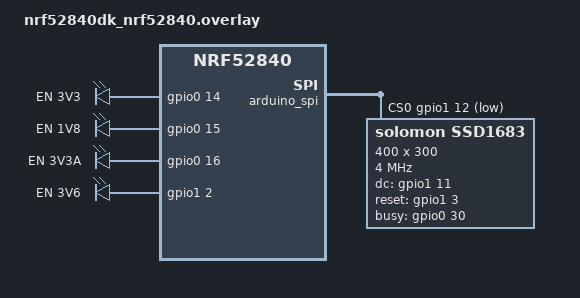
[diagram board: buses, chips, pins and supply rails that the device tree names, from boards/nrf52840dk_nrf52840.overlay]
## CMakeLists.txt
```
cmake_minimum_required(VERSION 3.20.0)


list(APPEND EXTRA_ZEPHYR_MODULES ${CMAKE_CURRENT_SOURCE_DIR}/../ssd1683)

find_package(Zephyr REQUIRED HINTS $ENV{ZEPHYR_BASE})
project(ssd1683_epd)


# Add all the C files you want built for the app here.
# Keep source files in src/ and list them below.
target_sources(app PRIVATE
    src/main.c
    src/power_ctrl.c
    fonts/roboto_28.c
    fonts/roboto_36.c
    fonts/roboto_bold_42.c
)

# Include directories
target_include_directories(app PRIVATE
    ../ssd1683/include
    ${gen_dir}
    fonts
    src
)
```

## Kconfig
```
mainmenu "SSD1683 EPD Application"

source "Kconfig.zephyr"

config APP_EPD_CUT_RAILS_AFTER_STATIC_FLUSH
	bool "Cut 3V3/3V3A after a successful static full flush"
	default y
	help
	  When showing a static screen (full refresh, not a 1 Hz partial
	  tick), cut the panel power rails once ssd1683_flush() succeeds
	  and BUSY is low.  Partial timer updates keep rails enabled.

config APP_EPD_STATIC_FLUSH_INTERVAL_SEC
	int "Demo: seconds between static flush + rail-cut tests"
	default 30
	range 5 3600
	depends on APP_EPD_CUT_RAILS_AFTER_STATIC_FLUSH
	help
	  During the demo loop, every N seconds perform a static full
	  flush and cut rails, then hold rails off before resuming partials.

config APP_EPD_RAIL_OFF_HOLD_SEC
	int "Demo: seconds to hold rails off before resuming partials"
	default 10
	range 1 300
	depends on APP_EPD_CUT_RAILS_AFTER_STATIC_FLUSH
	help
	  After cutting rails, wait this long (e-ink holds the image with
	  no power) before turning rails back on for partial updates.
```

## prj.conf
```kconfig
# Core peripherals
CONFIG_SPI=y
CONFIG_GPIO=y

# Logging / shell
CONFIG_LOG=y
CONFIG_LOG_DEFAULT_LEVEL=3
CONFIG_SHELL=y

# Display
CONFIG_DISPLAY=y
CONFIG_SSD1683=y

# Threading / memory safety
CONFIG_MAIN_STACK_SIZE=8192
CONFIG_MULTITHREADING=y
CONFIG_THREAD_STACK_INFO=y
CONFIG_INIT_STACKS=y
CONFIG_MPU=y
CONFIG_ARM_MPU=y
CONFIG_MPU_STACK_GUARD=y
CONFIG_MPU_ALLOW_FLASH_WRITE=y

# LVGL - 1 bpp mono for the EPD
CONFIG_LVGL=y
CONFIG_LV_COLOR_DEPTH_1=y
CONFIG_LV_Z_MONOCHROME_CONVERSION_BUFFER=y

# Memory pools
CONFIG_LV_Z_MEM_POOL_SIZE=32768

# LVGL partial-render buffer at 25% of screen. Forces LVGL into
# partial rendering mode (buf < screen) so flush_cb is called with
# the actual dirty subrects. Our driver coalesces multiple flushes
# into one EPD refresh via the shadow framebuffer.
CONFIG_LV_Z_VDB_SIZE=25

# Widgets
CONFIG_LV_USE_LABEL=y
CONFIG_LV_LABEL_TEXT_SELECTION=y
CONFIG_LV_LABEL_LONG_TXT_HINT=y
CONFIG_LV_USE_LINE=y
```

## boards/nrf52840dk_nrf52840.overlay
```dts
/ {
	chosen {
		zephyr,display = &ssd1683;
	};

	enables {
		compatible = "gpio-leds";

		en3v3: en3v3 {
			gpios = <&gpio0 14 GPIO_ACTIVE_HIGH>;
			label = "EN 3V3";
		};

		en1v8: en1v8 {
			gpios = <&gpio0 15 GPIO_ACTIVE_HIGH>;
			label = "EN 1V8";
		};

		en3v3a: en3v3a {
			gpios = <&gpio0 16 GPIO_ACTIVE_HIGH>;
			label = "EN 3V3A";
		};

		en3v6: en3v6 {
			gpios = <&gpio1 2 GPIO_ACTIVE_HIGH>;
			label = "EN 3V6";
		};
	};
};


&arduino_spi {
	status = "okay";
	cs-gpios = <&gpio1 12 GPIO_ACTIVE_LOW>;  /* EPD CS */
	/* SSD1683 E-Paper Display - Zephyr Display Driver */
	ssd1683: ssd1683@0 {
		compatible = "solomon,ssd1683";
		reg = <0>;
		spi-max-frequency = <4000000>;
		/* Display dimensions (400x300 pixels) */
		width = <400>;
		height = <300>;
		/* Control GPIOs */
		dc-gpios = <&gpio1 11 GPIO_ACTIVE_HIGH>;    /* Data/Command control */
		reset-gpios = <&gpio1 3 GPIO_ACTIVE_HIGH>;   /* Hardware reset */
		busy-gpios = <&gpio0 30 GPIO_ACTIVE_HIGH>;   /* Busy status input */
		/* Display configuration */
		fast-mode;  /* Enable fast refresh mode for quicker updates */
	};
};
```

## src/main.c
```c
/**
 * @file main.c
 * @brief SSD1683 Partial Refresh Demo
 *
 * Paints a static title + separator once with a full refresh, then updates
 * an HH:MM:SS timestamp every second using SSD1683 hardware partial refresh.
 * A full refresh is automatically triggered by the driver every
 * CONFIG_SSD1683_PARTIAL_MAX_BEFORE_FULL cycles to clear ghosting.
 */

#include <lvgl.h>
#include <stdio.h>
#include <zephyr/drivers/display.h>
#include <zephyr/kernel.h>
#include <zephyr/logging/log.h>

#include "power_ctrl.h"
#include "ssd1683.h"

LOG_MODULE_REGISTER(app, LOG_LEVEL_INF);

LV_FONT_DECLARE(roboto_28);
LV_FONT_DECLARE(roboto_36);
LV_FONT_DECLARE(roboto_bold_42);

/* Display geometry must match the DT overlay (solomon,ssd1683 width/height).
 * We hard-code here because LVGL needs the buffer sizes at compile time. */
#define EPD_W            400
#define EPD_H            300
#define EPD_STRIDE_BYTES ((EPD_W + 7) / 8)               /* 50 bytes per row */
#define EPD_LV_BUF_BYTES ((EPD_STRIDE_BYTES * EPD_H) + 8) /* +8: I1 palette  */

/* Two full-screen LVGL buffers for DIRECT render mode. Why DIRECT and not
 * PARTIAL: LVGL 9.3's PARTIAL + LV_COLOR_FORMAT_I1 path delivers chunks
 * with broken coordinates / offsets (stride is display-wide but pixels
 * are placed at unpredictable y inside the chunk buffer), which produces
 * the "TV-static bands + thin band of correct pixels at the bottom"
 * symptom we just hit. The known-good workaround used by
 * fb_now/v1.1/display_manager.c (line 1144 comment) is DIRECT mode with
 * full-screen buffers, which we mirror here. */
static uint8_t __aligned(4) lv_fb_a[EPD_LV_BUF_BYTES];
static uint8_t __aligned(4) lv_fb_b[EPD_LV_BUF_BYTES];

static const struct device *s_display_dev;

/**
 * @brief Custom LVGL flush callback for the SSD1683 mono EPD (DIRECT mode).
 *
 * In DIRECT mode `px_map` is the full-screen LVGL framebuffer (with the
 * I1 palette in the first 8 bytes); `area` is the dirty sub-rectangle
 * within it. Each row is `EPD_STRIDE_BYTES` wide.
 *
 * We DON'T have to invert: LVGL I1 packs `1 = palette[1] = white` and
 * `0 = palette[0] = black`, which matches SSD1683 MONO01 RAM (1=white,
 * 0=black). Inverting would flip the screen.
 *
 * To keep the driver's `_ssd1683_stage_rect` math simple
 * (`src_row = src + row*pitch`) we pre-offset `src` to point at
 * (x1, y1) inside the LVGL framebuffer. Then row r in the source is
 * exactly row (y1+r) of the LVGL FB, columns x1..x1+w-1.
 */
static void ssd1683_lv_flush_cb(lv_display_t *disp, const lv_area_t *area,
                                uint8_t *px_map)
{
    int32_t x1 = MAX(area->x1, 0);
    int32_t y1 = MAX(area->y1, 0);
    int32_t x2 = MIN(area->x2, EPD_W - 1);
    int32_t y2 = MIN(area->y2, EPD_H - 1);
    if (x2 < x1 || y2 < y1) {
        lv_display_flush_ready(disp);
        return;
    }

    /* Round x to byte boundaries - the SSD1683 addresses RAM in bytes
     * along X, and our shadow FB is laid out the same way. The Zephyr
     * lvgl_rounder_cb_mono usually does this, but it relies on
     * SCREEN_INFO_MONO_MSB_FIRST being seen at rounder time and we
     * shouldn't trust it given the LVGL-mono path is full of edge cases. */
    x1 &= ~0x7;
    x2 |=  0x7;
    if (x2 > EPD_W - 1) x2 = EPD_W - 1;

    const uint16_t w = (uint16_t)(x2 - x1 + 1);
    const uint16_t h = (uint16_t)(y2 - y1 + 1);

    /* Skip the 8-byte palette, then offset to (x1, y1) inside the
     * full-screen FB so the driver reads contiguous rows. */
    const uint8_t *fb  = px_map + 8;
    const uint8_t *src = fb + (uint32_t)y1 * EPD_STRIDE_BYTES + (x1 / 8);

    struct display_buffer_descriptor desc = {
        .buf_size = (uint32_t)EPD_STRIDE_BYTES * h, /* informational */
        .width    = w,
        .pitch    = EPD_STRIDE_BYTES,               /* full row stride */
        .height   = h,
        .frame_incomplete = !lv_display_flush_is_last(disp),
    };
    display_write(s_display_dev, (uint16_t)x1, (uint16_t)y1, &desc, src);
    lv_display_flush_ready(disp);
}

static void build_static_ui(lv_obj_t *screen, lv_obj_t **time_label_out)
{
    /* White background (MONO01: 1=white). */
    lv_obj_set_style_bg_color(screen, lv_color_white(), LV_PART_MAIN);
    lv_obj_set_style_bg_opa(screen, LV_OPA_COVER, LV_PART_MAIN);

    /* "Uptime:" caption centered vertically */
    static lv_style_t caption_style;
    lv_style_init(&caption_style);
    lv_style_set_text_font(&caption_style, &roboto_28);
    lv_style_set_text_color(&caption_style, lv_color_black());

    lv_obj_t *caption = lv_label_create(screen);
    lv_obj_add_style(caption, &caption_style, 0);
    lv_label_set_text(caption, "Uptime:");
    lv_obj_align(caption, LV_ALIGN_CENTER, 0, -40);

    /* Big HH:MM:SS label - the only thing we repaint every second. */
    static lv_style_t time_style;
    lv_style_init(&time_style);
    lv_style_set_text_font(&time_style, &roboto_bold_42);
    lv_style_set_text_color(&time_style, lv_color_black());

    lv_obj_t *t = lv_label_create(screen);
    lv_obj_add_style(t, &time_style, 0);
    lv_label_set_text(t, "00:00:00");
    lv_obj_align(t, LV_ALIGN_CENTER, 0, 20);

    *time_label_out = t;
}

static void format_hms(char *out, size_t out_sz, uint32_t total_seconds)
{
    uint32_t h = (total_seconds / 3600) % 100;
    uint32_t m = (total_seconds / 60) % 60;
    uint32_t s = total_seconds % 60;
    snprintf(out, out_sz, "%02u:%02u:%02u", h, m, s);
}

int main(void)
{
    const struct device *display;
    lv_obj_t *time_label = NULL;
    int ret;

    LOG_INF("SSD1683 partial-refresh demo");

    ret = power_ctrl_init();
    if (ret != 0) {
        LOG_ERR("power_ctrl_init: %d", ret);
        return ret;
    }
    power_ctrl_set(POWER_EN_3V3, true);
    power_ctrl_set(POWER_EN_1V8, true);
    power_ctrl_set(POWER_EN_3V3A, true);
    power_ctrl_set(POWER_EN_3V6, true);
    k_msleep(10);

    display = DEVICE_DT_GET(DT_CHOSEN(zephyr_display));
    if (!device_is_ready(display)) {
        LOG_ERR("display not ready");
        return -ENODEV;
    }
    s_display_dev = display;

    /* lvgl_init() already created the default display at POST_KERNEL/
     * APPLICATION with: VDB-sized PARTIAL buffers, LVGL's stock
     * lvgl_flush_cb_mono (which both off-by-8s past its conversion buffer
     * AND assumes a chunk layout that LVGL 9.3 does not actually deliver
     * for I1, see the discussion at the top of ssd1683_lv_flush_cb).
     * We rip all of that out and replace it with:
     *   - LV_COLOR_FORMAT_I1 (explicit; the default with COLOR_DEPTH_1=y
     *     is already I1 but be defensive)
     *   - two full-screen buffers in DIRECT render mode
     *   - our own flush_cb
     * The Zephyr-allocated VDB / mono-conversion buffer become unused
     * memory but stay reachable (no UAF), and the rounder cb registered
     * by lvgl_init() is still installed and harmless: it byte-aligns x,
     * which we also do defensively in flush_cb. */
    lv_display_t *def_disp = lv_display_get_default();
    if (def_disp == NULL) {
        LOG_ERR("LVGL default display missing - lvgl_init failed?");
        return -ENODEV;
    }
    lv_display_set_color_format(def_disp, LV_COLOR_FORMAT_I1);
    lv_display_set_buffers_with_stride(def_disp, lv_fb_a, lv_fb_b,
                                       EPD_LV_BUF_BYTES, EPD_STRIDE_BYTES,
                                       LV_DISPLAY_RENDER_MODE_DIRECT);
    lv_display_set_flush_cb(def_disp, ssd1683_lv_flush_cb);
    LOG_INF("LVGL: DIRECT mode, %ux%u I1, two %u-byte FBs",
            EPD_W, EPD_H, (unsigned)EPD_LV_BUF_BYTES);

    build_static_ui(lv_scr_act(), &time_label);

    display_blanking_off(display);

    /* First paint: let LVGL render, then force a full refresh so the initial
     * screen is sharp and RAM-B gets synchronised. */
    lv_task_handler();
    ssd1683_force_full_refresh(display);
    ret = ssd1683_flush(display, K_SECONDS(5));
    if (ret < 0) {
        LOG_WRN("initial flush: %d", ret);
    }

    LOG_INF("entering 1 Hz partial-refresh loop");

    int64_t t_epoch = k_uptime_get();
    char buf[16];
    while (1) {
        uint32_t seconds = (k_uptime_get() - t_epoch) / 1000;
        format_hms(buf, sizeof(buf), seconds);
        lv_label_set_text(time_label, buf);

        int64_t t_tick = k_uptime_get();
        lv_task_handler();
        int64_t t_staged = k_uptime_get();

        ret = ssd1683_flush(display, K_SECONDS(3));
        int64_t t_done = k_uptime_get();

        LOG_INF("tick %s: stage=%lldms refresh=%lldms ret=%d",
                buf,
                t_staged - t_tick,
                t_done - t_staged,
                ret);

        int64_t spent = k_uptime_get() - t_tick;
        int64_t remaining = 1000 - spent;
        if (remaining > 0) {
            k_msleep(remaining);
        }
    }
    return 0;
}
```
